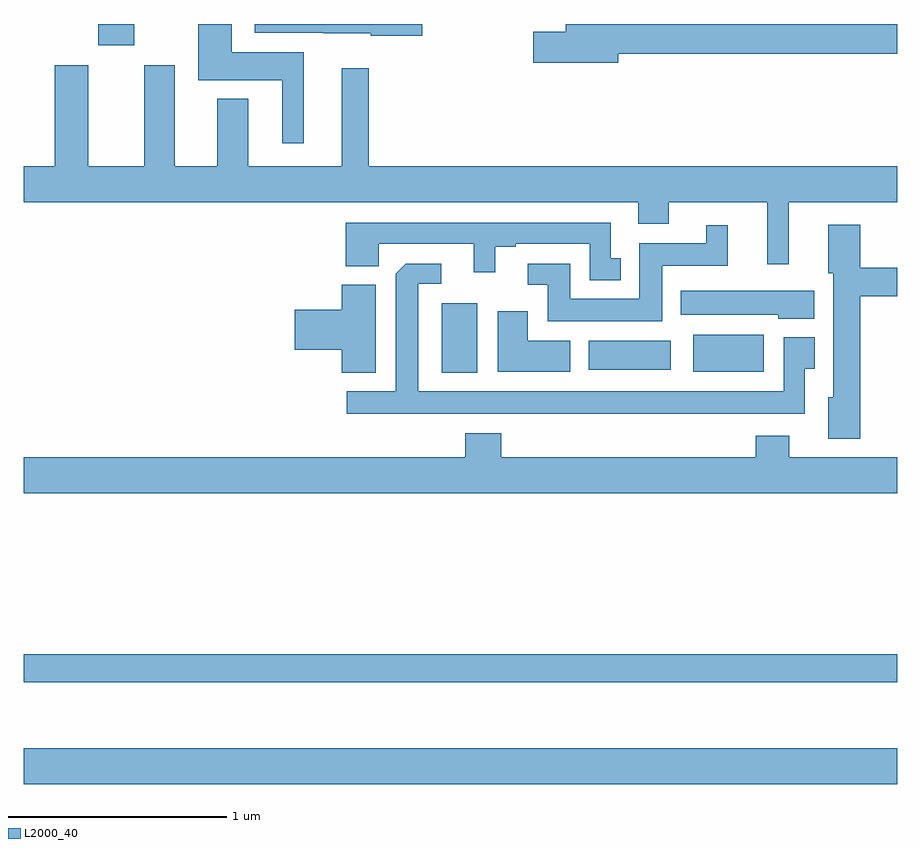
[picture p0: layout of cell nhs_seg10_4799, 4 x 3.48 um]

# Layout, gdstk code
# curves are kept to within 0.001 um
import gdstk
lib = gdstk.Library(unit=1e-6, precision=1e-09)
def R(c, l, rs):  # rectangles x0, y0, x1, y1
    for r in rs: c.add(gdstk.rectangle(r[:2], r[2:], *l))
def P(c, l, *ps):  # polygons
    for p in ps: c.add(gdstk.Polygon(p, *l))
L2000_40 = (2000, 40)

nhs_seg10_4799 = lib.new_cell('nhs_seg10_4799')
R(nhs_seg10_4799, L2000_40, [(387,1263.02,391,1263.184), (387,1263.486,391,1263.614), (388.913,1264.904,389.077,1265.221), (390.065,1264.907,390.388,1265.077), (389.588,1264.916,389.962,1265.05), (387.341,1266.402,387.505,1266.5)])
P(nhs_seg10_4799, L2000_40, [(388.825,1266.5),(388.059,1266.5),(388.059,1266.459),(388.371,1266.459),(388.371,1266.458),(388.59,1266.458),(388.59,1266.446),(388.825,1266.446)],
  [(388.282,1266.37),(387.952,1266.37),(387.952,1266.5),(387.799,1266.5),(387.799,1266.242),(388.184,1266.242),(388.184,1265.955),(388.282,1265.955)],
  [(389.722,1266.364),(391,1266.364),(391,1266.5),(389.483,1266.5),(389.483,1266.464),(389.334,1266.464),(389.334,1266.322),(389.722,1266.322)],
  [(390.503,1265.684),(391,1265.684),(391,1265.848),(388.579,1265.848),(388.579,1266.298),(388.457,1266.298),(388.457,1265.848),(388.027,1265.848),(388.027,1266.157),(387.887,1266.157),(387.887,1265.848),(387.691,1265.848),(387.691,1266.31),(387.551,1266.31),(387.551,1265.848),(387.295,1265.848),(387.295,1266.31),(387.143,1266.31),(387.143,1265.848),(387,1265.848),(387,1265.684),(389.813,1265.684),(389.813,1265.585),(389.953,1265.585),(389.953,1265.684),(390.404,1265.684),(390.404,1265.4),(390.503,1265.4)],
  [(389.734,1265.427),(389.688,1265.427),(389.688,1265.589),(388.475,1265.589),(388.475,1265.39),(388.626,1265.39),(388.626,1265.493),(389.06,1265.493),(389.06,1265.364),(389.158,1265.364),(389.158,1265.481),(389.254,1265.481),(389.254,1265.493),(389.592,1265.493),(389.592,1265.327),(389.734,1265.327)],
  [(390.83,1265.254),(391,1265.254),(391,1265.383),(390.83,1265.383),(390.83,1265.581),(390.683,1265.581),(390.683,1265.358),(390.707,1265.358),(390.707,1264.791),(390.683,1264.791),(390.683,1264.601),(390.83,1264.601)],
  [(389.923,1265.393),(390.224,1265.393),(390.224,1265.578),(390.125,1265.578),(390.125,1265.497),(389.819,1265.497),(389.819,1265.242),(389.503,1265.242),(389.503,1265.403),(389.307,1265.403),(389.307,1265.307),(389.399,1265.307),(389.399,1265.138),(389.923,1265.138)],
  [(390.577,1264.921),(390.622,1264.921),(390.622,1265.065),(390.48,1265.065),(390.48,1264.819),(388.807,1264.819),(388.807,1265.31),(388.912,1265.31),(388.912,1265.403),(388.75,1265.403),(388.704,1265.357),(388.703,1264.819),(388.479,1264.819),(388.479,1264.715),(390.577,1264.715)],
  [(388.612,1265.305),(388.457,1265.305),(388.457,1265.192),(388.242,1265.192),(388.242,1265.009),(388.457,1265.009),(388.457,1264.904),(388.612,1264.904)],
  [(390.619,1265.278),(390.008,1265.278),(390.008,1265.168),(390.456,1265.168),(390.456,1265.15),(390.619,1265.15)],
  [(389.503,1265.05),(389.308,1265.05),(389.308,1265.185),(389.171,1265.185),(389.171,1264.907),(389.503,1264.907)],
  [(391,1264.516),(390.505,1264.516),(390.505,1264.615),(390.353,1264.615),(390.353,1264.516),(389.186,1264.516),(389.186,1264.627),(389.021,1264.627),(389.021,1264.516),(387,1264.516),(387,1264.352),(391,1264.352)])

lib.write_gds('nhs_seg10_4799.gds')
